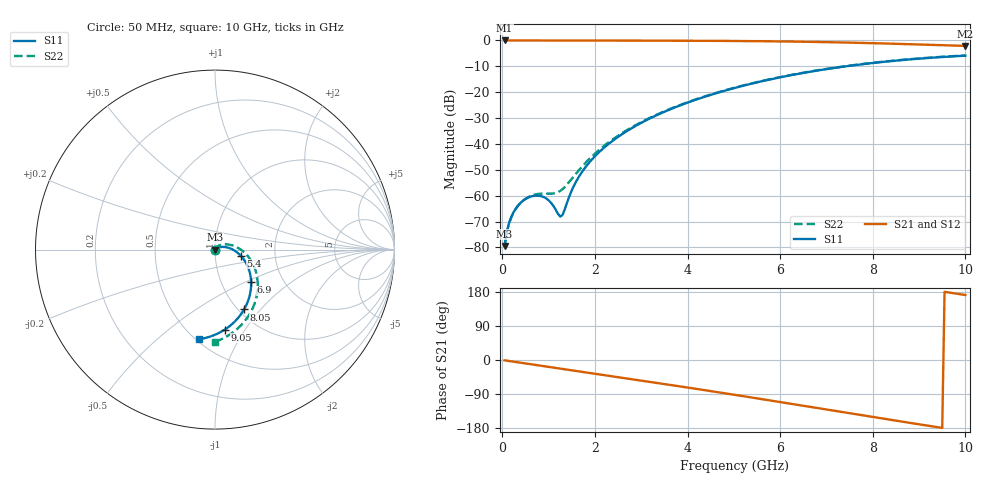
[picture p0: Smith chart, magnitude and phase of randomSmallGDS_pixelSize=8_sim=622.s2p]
! freq	dB(S11)	phase(S11)	dB(S12)	phase(S12)
!  dB(S21)	phase(S21)	dB(S22)	phase(S22)
!S-par simulation data
#  GHz  S  DB  R 50
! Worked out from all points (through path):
!   200 points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, 50 MHz to 10 GHz, reference 50 ohm
!   highest |S21| = 0.00 dB at 50 MHz (marker M1); lowest = -2.1 dB at 10 GHz (marker M2)
!   group delay of S21, straight-line fit = 52.7 ps
!   lowest |S11| = -79.4 dB at 50 MHz (marker M3), VSWR 1.00, Z = 50 - j0.0102 ohm
!   |S11| at or under -10 dB: start of sweep to 7.417 GHz
!   |S22| runs from -79.5 to -5.8 dB; largest |S21 - S12| = 0
!   S11 on the Smith chart (normalised r, x): 50 MHz: 1.00, -0.00; 5.4 GHz: 1.33, -0.09; 6.9 GHz: 1.38, -0.54; 8.05 GHz: 1.06, -0.82; 9.05 GHz: 0.73, -0.82; 10 GHz: 0.52, -0.69
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0.05  -79.42 -72.3  -0.00 -0.9  -0.00 -0.9  -79.53 -73.5
0.1  -73.77 -81.8  -0.00 -1.8  -0.00 -1.8  -73.89 -84.6
0.15  -70.38 -85.5  -0.00 -2.7  -0.00 -2.7  -70.49 -89.9
0.25  -66.20 -89.2  -0.00 -4.5  -0.00 -4.5  -66.29 -96.7
0.4  -62.69 -92.2  -0.01 -7.2  -0.01 -7.2  -62.71 -105.1
0.6  -60.44 -94.5  -0.01 -10.8  -0.01 -10.8  -60.24 -116.7
0.85  -60.26 -94.5  -0.02 -15.3  -0.02 -15.3  -59.21 -136.2
1.05  -62.69 -87.4  -0.02 -18.9  -0.02 -18.9  -59.23 -161.5
1.25  -68.11 -38.3  -0.03 -22.4  -0.03 -22.4  -58.20 161.3
1.3  -67.48 -10.8  -0.03 -23.3  -0.03 -23.3  -57.50 151.5
1.55  -56.07 39.6  -0.03 -27.8  -0.03 -27.8  -52.41 113.7
1.75  -50.10 43.9  -0.03 -31.4  -0.03 -31.4  -48.23 96.1
2.4  -38.56 38.7  -0.05 -43.1  -0.05 -43.1  -38.04 66.8
3.4  -28.35 22.8  -0.08 -61.4  -0.08 -61.4  -28.16 40.6
5.05  -18.20 -6.8  -0.20 -92.5  -0.20 -92.5  -18.11 5.6
5.4  -16.62 -13.3  -0.25 -99.3  -0.25 -99.3  -16.53 -1.5
6.7  -11.93 -38.1  -0.55 -124.7  -0.55 -124.7  -11.85 -27.6
6.9  -11.35 -42.0  -0.61 -128.7  -0.61 -128.7  -11.27 -31.6
8.05  -8.62 -64.1  -1.07 -151.3  -1.07 -151.3  -8.53 -54.1
8.35  -8.06 -69.8  -1.22 -157.2  -1.22 -157.2  -7.97 -59.8
9.05  -6.96 -83.0  -1.58 -170.7  -1.58 -170.7  -6.87 -72.9
10  -5.89 -100.4  -2.11 171.5  -2.11 171.5  -5.79 -89.9
